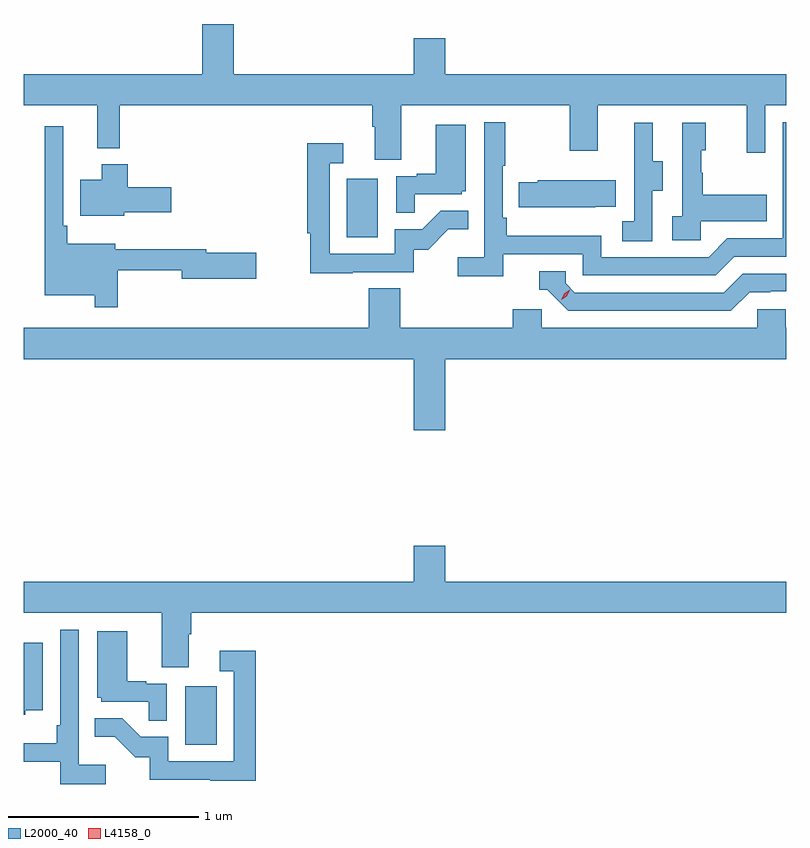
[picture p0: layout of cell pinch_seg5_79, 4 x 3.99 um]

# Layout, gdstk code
import gdstk
lib = gdstk.Library(unit=1e-6, precision=1e-09)
def R(c, l, rs):  # rectangles x0, y0, x1, y1
    for r in rs: c.add(gdstk.rectangle(r[:2], r[2:], *l))
def P(c, l, *ps):  # polygons
    for p in ps: c.add(gdstk.Polygon(p, *l))
L2000_40 = (2000, 40)
L4158_0 = (4158, 0)

pinch_seg5_79 = lib.new_cell('pinch_seg5_79')
R(pinch_seg5_79, L2000_40, [(1038.932,909.348,1039.096,909.655), (1039.778,912.012,1039.942,912.319)])
P(pinch_seg5_79, L2000_40, [(1040.065,912.704),(1040.95,912.704),(1040.95,912.465),(1041.097,912.465),(1041.097,912.704),(1041.878,912.704),(1041.878,912.456),(1041.975,912.456),(1041.975,912.704),(1042.085,912.704),(1042.085,912.868),(1040.296,912.868),(1040.296,913.057),(1040.132,913.057),(1040.132,912.868),(1039.186,912.868),(1039.186,913.131),(1039.022,913.131),(1039.022,912.868),(1038.085,912.868),(1038.085,912.704),(1038.47,912.704),(1038.47,912.479),(1038.587,912.479),(1038.587,912.704),(1039.913,912.704),(1039.913,912.592),(1039.925,912.592),(1039.925,912.418),(1040.065,912.418)],
  [(1040.6,911.922),(1041.018,911.922),(1041.018,911.811),(1041.715,911.811),(1041.814,911.91),(1042.085,911.91),(1042.085,912.615),(1042.068,912.615),(1042.068,912.006),(1041.777,912.006),(1041.678,911.907),(1041.114,911.907),(1041.114,912.019),(1040.618,912.019),(1040.618,912.115),(1040.598,912.115),(1040.598,912.388),(1040.611,912.388),(1040.611,912.616),(1040.502,912.616),(1040.502,911.908),(1040.361,911.908),(1040.361,911.806),(1040.6,911.806)],
  [(1041.384,912.256),(1041.439,912.256),(1041.439,912.411),(1041.385,912.411),(1041.385,912.613),(1041.287,912.613),(1041.287,912.399),(1041.288,912.399),(1041.288,912.095),(1041.225,912.095),(1041.225,911.992),(1041.384,911.992)],
  [(1041.636,912.095),(1041.983,912.095),(1041.983,912.235),(1041.649,912.235),(1041.649,912.35),(1041.639,912.35),(1041.639,912.468),(1041.664,912.468),(1041.664,912.613),(1041.54,912.613),(1041.54,912.122),(1041.489,912.122),(1041.489,911.997),(1041.636,911.997)],
  [(1040.135,912.237),(1040.382,912.237),(1040.382,912.252),(1040.404,912.252),(1040.404,912.601),(1040.246,912.601),(1040.246,912.346),(1040.147,912.346),(1040.147,912.333),(1040.04,912.333),(1040.04,912.139),(1040.135,912.139)],
  [(1038.577,911.838),(1038.914,911.838),(1038.914,911.795),(1039.303,911.795),(1039.303,911.93),(1039.042,911.93),(1039.042,911.948),(1038.565,911.948),(1038.565,911.977),(1038.311,911.977),(1038.311,912.073),(1038.291,912.073),(1038.291,912.595),(1038.194,912.595),(1038.194,911.708),(1038.456,911.708),(1038.456,911.643),(1038.577,911.643)],
  [(1039.811,911.829),(1040.13,911.829),(1040.13,911.946),(1040.206,911.946),(1040.313,912.053),(1040.417,912.053),(1040.417,912.152),(1040.273,912.152),(1040.175,912.054),(1040.031,912.054),(1040.031,911.925),(1039.689,911.925),(1039.689,912.399),(1039.762,912.399),(1039.762,912.505),(1039.573,912.505),(1039.573,912.032),(1039.588,912.032),(1039.588,911.824),(1039.811,911.824)],
  [(1038.612,912.143),(1038.859,912.143),(1038.859,912.273),(1038.629,912.273),(1038.629,912.394),(1038.494,912.394),(1038.494,912.313),(1038.38,912.313),(1038.38,912.125),(1038.612,912.125)],
  [(1041.083,912.173),(1041.191,912.173),(1041.191,912.31),(1040.781,912.31),(1040.781,912.3),(1040.683,912.3),(1040.683,912.17),(1041.083,912.17)],
  [(1041.895,911.724),(1042.002,911.724),(1042.002,911.727),(1042.085,911.727),(1042.085,911.82),(1041.858,911.82),(1041.759,911.721),(1040.976,911.721),(1040.928,911.769),(1040.928,911.832),(1040.789,911.832),(1040.789,911.736),(1040.832,911.736),(1040.943,911.625),(1041.796,911.625)],
  [(1040.296,911.372),(1042.085,911.372),(1042.085,911.536),(1042.083,911.536),(1042.083,911.634),(1041.933,911.634),(1041.933,911.536),(1040.802,911.536),(1040.802,911.634),(1040.651,911.634),(1040.651,911.536),(1040.06,911.536),(1040.06,911.744),(1039.895,911.744),(1039.895,911.536),(1038.085,911.536),(1038.085,911.372),(1040.132,911.372),(1040.132,910.998),(1040.296,910.998)],
  [(1038.949,909.928),(1038.962,909.928),(1038.962,910.04),(1042.085,910.04),(1042.085,910.204),(1040.296,910.204),(1040.296,910.393),(1040.132,910.393),(1040.132,910.204),(1038.085,910.204),(1038.085,910.04),(1038.809,910.04),(1038.809,909.754),(1038.949,909.754)],
  [(1038.514,909.244),(1038.372,909.244),(1038.372,909.952),(1038.276,909.952),(1038.276,909.451),(1038.256,909.451),(1038.256,909.355),(1038.085,909.355),(1038.085,909.258),(1038.275,909.258),(1038.275,909.142),(1038.514,909.142)],
  [(1038.834,909.669),(1038.728,909.669),(1038.728,909.682),(1038.628,909.682),(1038.628,909.943),(1038.47,909.943),(1038.47,909.594),(1038.492,909.594),(1038.492,909.573),(1038.739,909.573),(1038.739,909.475),(1038.834,909.475)],
  [(1038.093,909.53),(1038.184,909.53),(1038.184,909.883),(1038.085,909.883),(1038.085,909.506),(1038.093,909.506)],
  [(1039.301,909.841),(1039.113,909.841),(1039.113,909.735),(1039.185,909.735),(1039.185,909.261),(1038.843,909.261),(1038.843,909.39),(1038.699,909.39),(1038.601,909.488),(1038.457,909.488),(1038.457,909.389),(1038.561,909.389),(1038.668,909.282),(1038.745,909.282),(1038.745,909.165),(1039.063,909.165),(1039.063,909.16),(1039.301,909.16)])
P(pinch_seg5_79, L4158_0, [(1040.904,911.684),(1040.904,911.684),(1040.92,911.716),(1040.951,911.735),(1040.951,911.735),(1040.951,911.735),(1040.935,911.703),(1040.904,911.684)])

lib.write_gds('pinch_seg5_79.gds')
